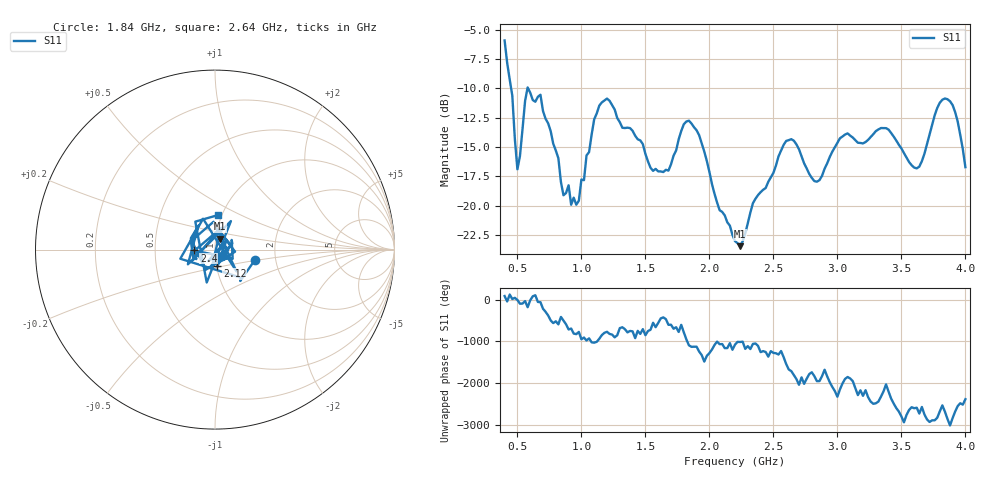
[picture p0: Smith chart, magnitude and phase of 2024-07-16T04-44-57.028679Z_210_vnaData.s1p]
!Created with skrf (http://scikit-rf.org).
# Hz S RI R 50.0
!freq ReS11 ImS11
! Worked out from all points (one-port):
!   181 points, 400 MHz to 4 GHz, reference 50 ohm
!   lowest |S11| = -23.4 dB at 2.24 GHz (marker M1), VSWR 1.14, Z = 52.5 + j6.44 ohm
!   |S11| at or under -10 dB: 451.1 MHz to 578.4 MHz (127.3 MHz wide, 24.7 % of centre); 584.1 MHz to end of sweep
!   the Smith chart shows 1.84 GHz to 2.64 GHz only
!   S11 on the Smith chart (normalised r, x): 1.84 GHz: 1.56, -0.18; 2.12 GHz: 1.01, -0.18; 2.4 GHz: 0.79, -0.01; 2.64 GHz: 0.96, +0.38
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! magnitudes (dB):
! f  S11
! 400 MHz  -5.9
! 460 MHz  -10.6
! 500 MHz  -16.9
! 580 MHz  -9.9
! 680 MHz  -10.5
! 820 MHz  -15.9
! 860 MHz  -19.1
! 980 MHz  -19.6
! 1.14 GHz  -11.5
! 1.3 GHz  -12.9
! 1.56 GHz  -17.0
! 1.68 GHz  -17.0
! 1.76 GHz  -14.3
! 1.84 GHz  -12.7
! 2.12 GHz  -20.8
! 2.2 GHz  -23.0
! 2.24 GHz  -23.4
! 2.4 GHz  -18.8
! 2.64 GHz  -14.3
! 2.66 GHz  -14.5
! 2.84 GHz  -17.9
! 3.1 GHz  -14.0
! 3.38 GHz  -13.4
! 3.56 GHz  -16.3
! 3.64 GHz  -16.7
! 3.84 GHz  -10.9
! 3.92 GHz  -12.0
! 4 GHz  -16.7
